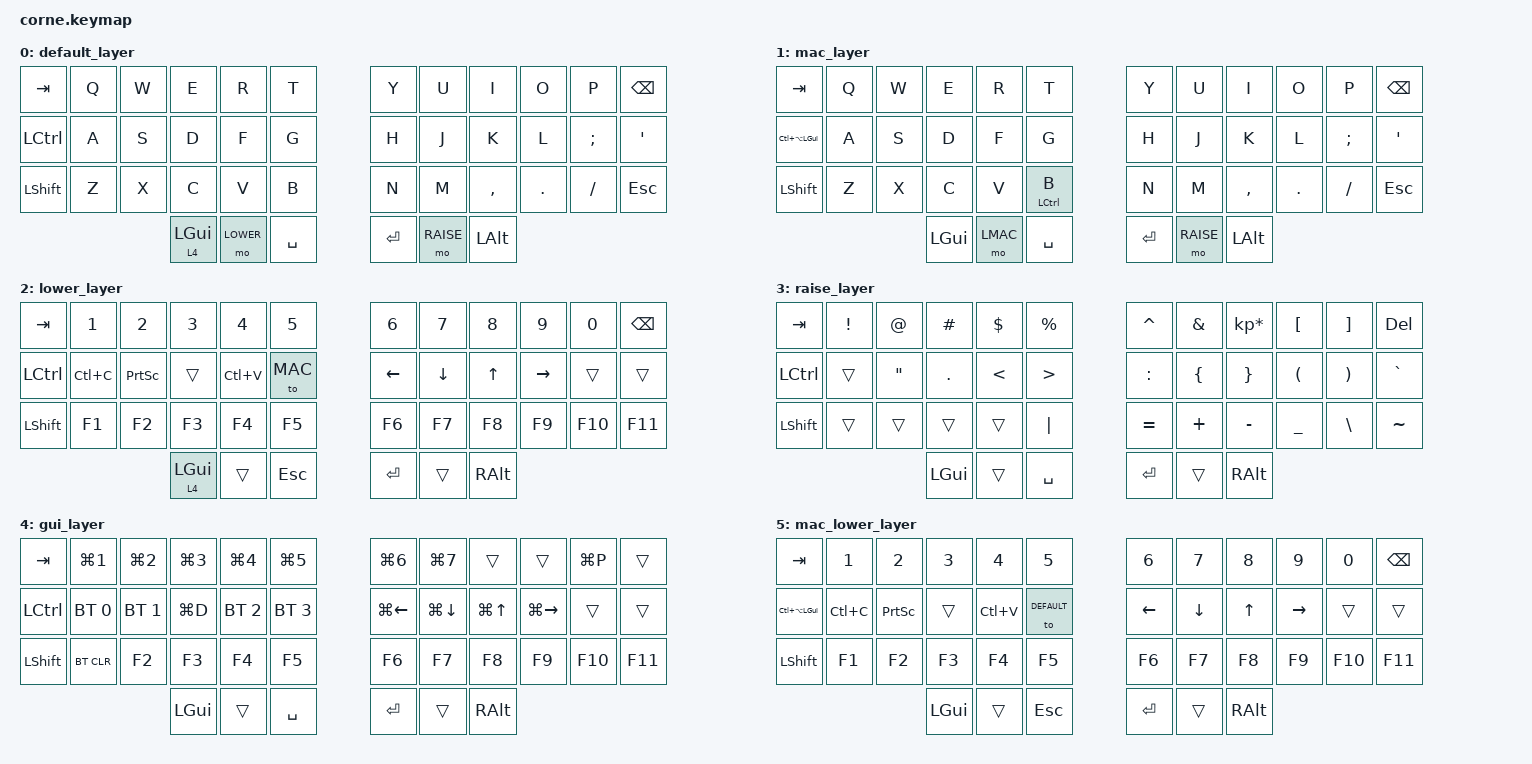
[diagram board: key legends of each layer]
/*
 * Copyright (c) 2020 The ZMK Contributors
 *
 * SPDX-License-Identifier: MIT
 */

#include <behaviors.dtsi>
#include <dt-bindings/zmk/keys.h>
#include <dt-bindings/zmk/bt.h>
#define DEFAULT 0
#define MAC 1
#define LOWER 2 
#define RAISE 3
#define GUI 4
#define LMAC 5


/ {
        keymap {
                compatible = "zmk,keymap";

                default_layer {
                        bindings = <
                              &kp TAB   &kp Q &kp W &kp E &kp R &kp T               &kp Y &kp U  &kp I     &kp O   &kp P    &kp BSPC
                              &kp LCTRL &kp A &kp S &kp D &kp F &kp G               &kp H &kp J  &kp K     &kp L   &kp SEMI &kp SQT
                              &kp LSHFT &kp Z &kp X &kp C &kp V &kp B               &kp N &kp M  &kp COMMA &kp DOT &kp FSLH &kp ESC
                                           &lt 4 LGUI &mo LOWER &kp SPACE           &kp RET &mo RAISE &kp LALT
                        >;
                };
                mac_layer {
                        bindings = <
                              &kp TAB   &kp Q &kp W &kp E &kp R &kp T               &kp Y &kp U  &kp I     &kp O   &kp P    &kp BSPC
                       &kp LC(LA(LGUI)) &kp A &kp S &kp D &kp F &kp G               &kp H &kp J  &kp K     &kp L   &kp SEMI &kp SQT
                              &kp LSHFT &kp Z &kp X &kp C &kp V &mt LCTRL B         &kp N &kp M  &kp COMMA &kp DOT &kp FSLH &kp ESC
                                              &kp LGUI &mo LMAC &kp SPACE           &kp RET &mo RAISE &kp LALT
                        >;
                };
                lower_layer {
                        bindings = <
           &kp TAB    &kp N1    &kp N2     &kp N3    &kp N4     &kp N5              &kp N6 &kp N7   &kp N8   &kp N9 &kp N0   &kp BSPC
           &kp LCTRL  &kp LC(C) &kp PSCRN  &trans    &kp LC(V)  &to MAC             &kp LEFT &kp DOWN &kp UP &kp RIGHT &trans &trans
           &kp LSHFT  &kp F1    &kp F2     &kp F3    &kp F4     &kp F5              &kp F6 &kp F7   &kp F8   &kp F9 &kp F10   &kp F11
                          	                &lt 4 LGUI &trans &kp ESC             &kp RET  &trans   &kp RALT
                        >;
                };
                raise_layer {
                        bindings = <
                    &kp  TAB  &kp EXCL &kp AT &kp HASH &kp DLLR &kp PRCNT           &kp CARET &kp AMPS   &kp KP_MULTIPLY &kp LBKT &kp RBKT &kp DEL
                    &kp LCTRL &trans   &kp DQT &kp DOT &kp LT   &kp GT              &kp COLON &kp LBRC   &kp RBRC        &kp LPAR &kp RPAR &kp GRAVE
                    &kp LSHFT &trans   &trans &trans   &trans   &kp PIPE            &kp EQUAL  &kp PLUS  &kp MINUS       &kp UNDER &kp BSLH &kp TILDE
                                     	        &kp LGUI &trans &kp SPACE           &kp RET   &trans     &kp RALT
                        >;
                };
                gui_layer {
                        bindings = <
   &kp TAB    &kp LG(N1)    &kp LG(N2)   &kp LG(N3) &kp LG(N4)   &kp LG(N5)         &kp LG(N6) &kp LG(N7)   &trans       &trans     &kp LG(P)     &trans
   &kp LCTRL  &bt BT_SEL 0  &bt BT_SEL 1 &kp LG(D)  &bt BT_SEL 2 &bt BT_SEL 3       &kp LG(LEFT) &kp LG(DOWN) &kp LG(UP) &kp LG(RIGHT) &trans     &trans
   &kp LSHFT  &bt BT_CLR    &kp F2       &kp F3     &kp F4       &kp F5             &kp F6     &kp F7       &kp F8       &kp F9     &kp F10       &kp F11
                                                 &kp LGUI &trans &kp SPACE          &kp RET   &trans    &kp RALT
                        >;
                 };
                mac_lower_layer {
                        bindings = <
           &kp TAB          &kp N1    &kp N2     &kp N3    &kp N4     &kp N5              &kp N6 &kp N7   &kp N8   &kp N9 &kp N0    &kp BSPC
           &kp LC(LA(LGUI)) &kp LC(C) &kp PSCRN  &trans    &kp LC(V)  &to DEFAULT         &kp LEFT &kp DOWN &kp UP &kp RIGHT &trans &trans
           &kp LSHFT        &kp F1    &kp F2     &kp F3    &kp F4     &kp F5              &kp F6 &kp F7   &kp F8   &kp F9 &kp F10   &kp F11
                          	                      &kp LGUI &trans &kp ESC             &kp RET  &trans   &kp RALT
                        >;
                 };
        };
};
